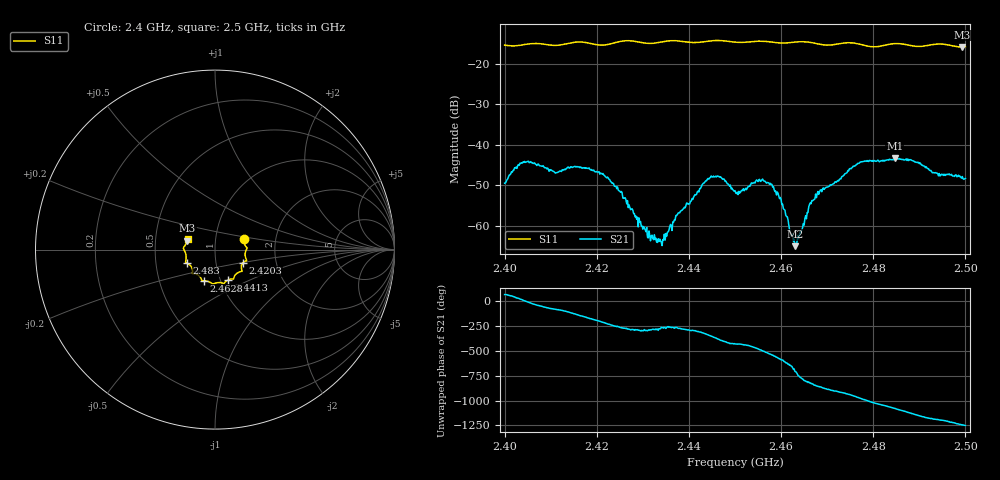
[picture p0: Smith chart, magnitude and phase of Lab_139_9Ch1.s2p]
# Hz S RI R 50
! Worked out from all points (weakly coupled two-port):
!   601 points, 2.4 GHz to 2.5 GHz, reference 50 ohm
!   highest |S21| = -43.32 dB at 2.4847 GHz (marker M1); lowest = -65.0 dB at 2.463 GHz (marker M2)
!   lowest |S11| = -15.8 dB at 2.4993 GHz (marker M3), VSWR 1.39, Z = 36.5 + j3.72 ohm
!   |S11| at or under -10 dB: start of sweep to end of sweep
!   S12 and S22 are empty: the file has one direction only
!   S11 on the Smith chart (normalised r, x): 2.4 GHz: 1.37, +0.16; 2.4203 GHz: 1.35, -0.21; 2.4413 GHz: 1.09, -0.38; 2.4628 GHz: 0.83, -0.30; 2.483 GHz: 0.72, -0.11; 2.5 GHz: 0.73, +0.09
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2.4e9  0.1606 0.0569  0.00145 0.00304  0 0  0 0
2.4045e9  0.1735 0.0152  0.0061 3.15e-05  0 0  0 0
2.411167e9  0.1681 -0.0226  0.000428 -0.00453  0 0  0 0
2.416667e9  0.176 -0.0616  -0.00454 -0.00263  0 0  0 0
2.420333e9  0.1552 -0.074  -0.00437 0.00157  0 0  0 0
2.425e9  0.1503 -0.1151  -0.000307 0.00267  0 0  0 0
2.433333e9  0.1081 -0.1484  0.00029 0.000632  0 0  0 0
2.441333e9  0.0743 -0.1681  0.00112 0.00217  0 0  0 0
2.445333e9  0.0514 -0.1872  0.00412 -0.000268  0 0  0 0
2.45e9  0.0292 -0.1837  0.000907 -0.00258  0 0  0 0
2.455e9  -0.00777 -0.1909  -0.00177 -0.00306  0 0  0 0
2.457833e9  -0.0217 -0.1854  -0.00326 -0.000124  0 0  0 0
2.459833e9  -0.0374 -0.1777  -0.00157 0.00161  0 0  0 0
2.462833e9  -0.063 -0.1748  0.000543 0.000414  0 0  0 0
2.463e9  -0.0639 -0.1748  0.000548 0.000128  0 0  0 0
2.466667e9  -0.0743 -0.1676  -0.000669 -0.00194  0 0  0 0
2.476833e9  -0.1244 -0.1256  -0.00195 0.0056  0 0  0 0
2.483e9  -0.155 -0.0767  0.00601 0.00255  0 0  0 0
2.483333e9  -0.1572 -0.0757  0.00618 0.00205  0 0  0 0
2.484667e9  -0.163 -0.0725  0.00682 0.000142  0 0  0 0
2.499333e9  -0.1542 0.0497  -0.00391 -0.00115  0 0  0 0
2.5e9  -0.1526 0.0587  -0.00381 -0.000675  0 0  0 0
